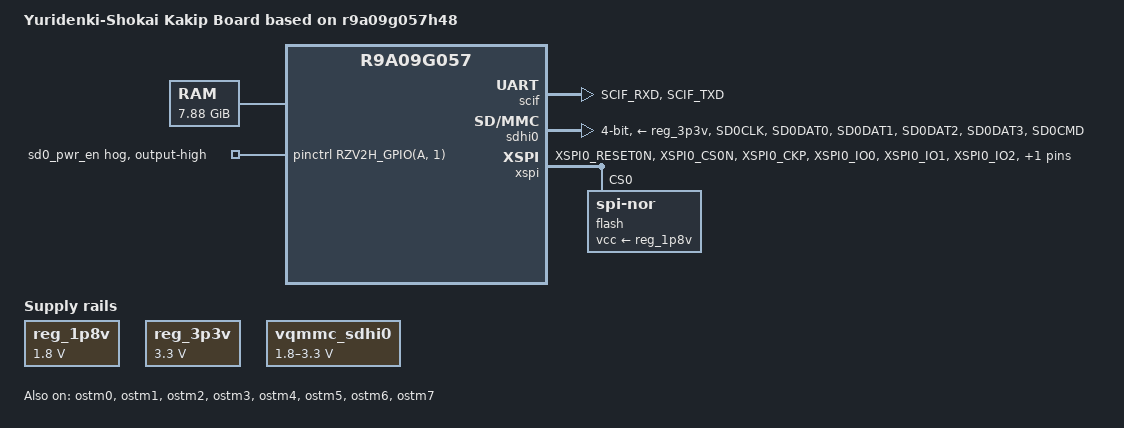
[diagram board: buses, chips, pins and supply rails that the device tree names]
// SPDX-License-Identifier: (GPL-2.0-only OR BSD-2-Clause)
/*
 * Device Tree Source for the Yuridenki-Shokai Kakip board
 *
 * Copyright (C) 2024 Nobuhiro Iwamatsu <iwamatsu@nigauri.org>
 */

/dts-v1/;

#include <dt-bindings/pinctrl/renesas,r9a09g057-pinctrl.h>
#include <dt-bindings/gpio/gpio.h>
#include "r9a09g057.dtsi"

/ {
	model = "Yuridenki-Shokai Kakip Board based on r9a09g057h48";
	compatible = "yuridenki,kakip", "renesas,r9a09g057h48", "renesas,r9a09g057";

	aliases {
		serial0 = &scif;
		mmc0 = &sdhi0;
	};

	chosen {
		stdout-path = "serial0:115200n8";
	};

	memory@48000000 {
		device_type = "memory";
		/* first 128MB is reserved for secure area. */
		reg = <0x0 0x48000000 0x1 0xf8000000>;
	};

	reg_1p8v: regulator-1p8v {
		compatible = "regulator-fixed";
		regulator-name = "fixed-1.8V";
		regulator-min-microvolt = <1800000>;
		regulator-max-microvolt = <1800000>;
		regulator-boot-on;
		regulator-always-on;
	};

	reg_3p3v: regulator-3v3 {
		compatible = "regulator-fixed";
		regulator-name = "fixed-3.3V";
		regulator-min-microvolt = <3300000>;
		regulator-max-microvolt = <3300000>;
		regulator-boot-on;
		regulator-always-on;
	};

	vqmmc_sdhi0: regulator-vccq-sdhi0 {
		compatible = "regulator-gpio";
		regulator-name = "SDHI0 VccQ";
		gpios = <&pinctrl RZV2H_GPIO(A, 0) GPIO_ACTIVE_HIGH>;
		regulator-min-microvolt = <1800000>;
		regulator-max-microvolt = <3300000>;
		gpios-states = <0>;
		states = <3300000 0>, <1800000 1>;
	};
};

&ostm0 {
	status = "okay";
};

&ostm1 {
	status = "okay";
};

&ostm2 {
	status = "okay";
};

&ostm3 {
	status = "okay";
};

&ostm4 {
	status = "okay";
};

&ostm5 {
	status = "okay";
};

&ostm6 {
	status = "okay";
};

&ostm7 {
	status = "okay";
};

&pinctrl {
	scif_pins: scif {
		pins = "SCIF_RXD", "SCIF_TXD";
	};

	sd0-pwr-en-hog {
		gpio-hog;
		gpios = <RZV2H_GPIO(A, 1) GPIO_ACTIVE_HIGH>;
		output-high;
		line-name = "sd0_pwr_en";
	};

	sdhi0_pins: sd0 {
		sd0-clk {
			pins = "SD0CLK";
			renesas,output-impedance = <3>;
			slew-rate = <0>;
		};

		sd0-data {
			pins = "SD0DAT0", "SD0DAT1", "SD0DAT2", "SD0DAT3", "SD0CMD";
			input-enable;
			renesas,output-impedance = <3>;
			slew-rate = <0>;
		};

		sd0-mux {
			pinmux = <RZV2H_PORT_PINMUX(A, 5, 15)>; /* SD0_CD */
		};
	};

	xspi_pins: xspi0 {
		ctrl {
			pins = "XSPI0_RESET0N", "XSPI0_CS0N", "XSPI0_CKP";
			output-enable;
		};

		io {
			pins = "XSPI0_IO0", "XSPI0_IO1", "XSPI0_IO2", "XSPI0_IO3";
			renesas,output-impedance = <3>;
		};
	};
};

&qextal_clk {
	clock-frequency = <24000000>;
};

&scif {
	pinctrl-0 = <&scif_pins>;
	pinctrl-names = "default";

	status = "okay";
};

&sdhi0 {
	pinctrl-0 = <&sdhi0_pins>;
	pinctrl-names = "default";
	vmmc-supply = <&reg_3p3v>;
	vqmmc-supply = <&vqmmc_sdhi0>;
	bus-width = <4>;

	status = "okay";
};

&xspi {
	pinctrl-0 = <&xspi_pins>;
	pinctrl-names = "default";
	assigned-clocks = <&cpg CPG_CORE R9A09G057_SPI_CLK_SPI>;
	assigned-clock-rates = <133333334>;
	status = "okay";

	flash@0 {
		/* W25Q256JWPIM */
		compatible = "jedec,spi-nor";
		reg = <0>;
		vcc-supply = <&reg_1p8v>;
		m25p,fast-read;
		spi-tx-bus-width = <4>;
		spi-rx-bus-width = <4>;
	};
};
